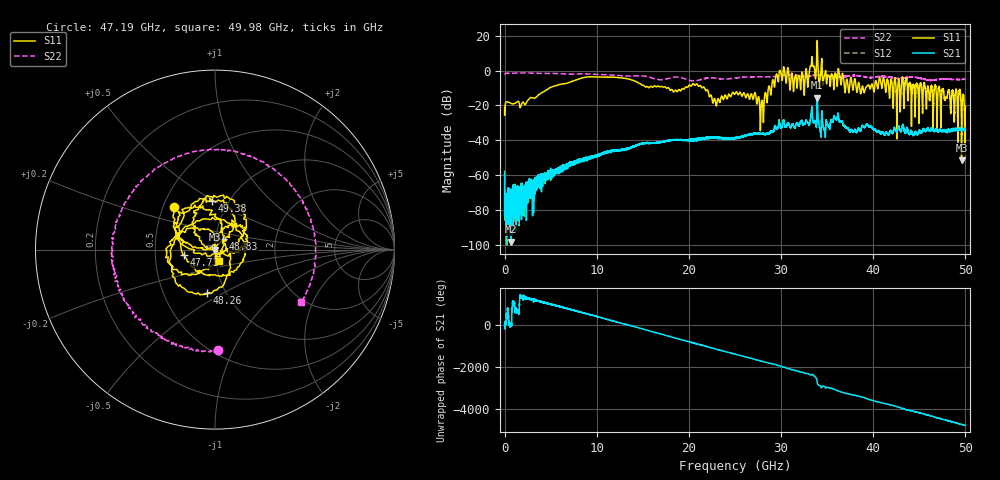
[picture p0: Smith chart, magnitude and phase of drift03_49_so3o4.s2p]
!Created with skrf (http://scikit-rf.org).
# Hz S RI R 50.0
!freq ReS11 ImS11 ReS21 ImS21 ReS12 ImS12 ReS22 ImS22
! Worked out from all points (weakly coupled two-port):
!   10001 points, 300 kHz to 50 GHz, reference 50 ohm
!   highest |S21| = -15.62 dB at 33.92 GHz (marker M1); lowest = -98.3 dB at 695.3 MHz (marker M2)
!   lowest |S11| = -51.6 dB at 49.58 GHz (marker M3), VSWR 1.01, Z = 49.7 - j0.0441 ohm
!   |S11| at or under -10 dB: start of sweep to 4.848 GHz; 21.69 GHz to 28.63 GHz (6.935 GHz wide, 27.6 % of centre); 47.2 GHz to end of sweep (the widest 3 of 42)
!   |S22| runs from -5.9 to -1.3 dB; largest |S21 - S12| = 0.017
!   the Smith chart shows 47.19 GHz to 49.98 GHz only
!   S11 on the Smith chart (normalised r, x): 47.19 GHz: 0.57, +0.30; 47.71 GHz: 0.71, -0.05; 48.26 GHz: 0.82, -0.42; 48.83 GHz: 1.09, +0.13; 49.38 GHz: 0.83, +0.49; 49.98 GHz: 1.04, -0.13
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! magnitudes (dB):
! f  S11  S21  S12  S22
! 300 kHz  -21.3  -59.7  -57.3  -2.0
! 255.3 MHz  -17.9  -71.1  -87.1  -1.4
! 695.3 MHz  -18.8  -98.3  -71.7  -1.5
! 8.335 GHz  -4.3  -51.5  -51.5  -1.9
! 16.67 GHz  -8.8  -41.4  -41.4  -5.2
! 22.81 GHz  -16.1  -38.7  -38.3  -4.2
! 25 GHz  -13.4  -38.5  -38.8  -4.2
! 27.92 GHz  -17.1  -36.4  -36.5  -3.5
! 29.69 GHz  -6.4  -31.8  -31.6  -3.1
! 32.32 GHz  -1.5  -30.5  -30.7  -3.3
! 33.34 GHz  7.8  -20.6  -20.9  -2.9
! 33.92 GHz  17.3  -15.6  -15.8  -2.5
! 38.82 GHz  -9.0  -31.5  -31.8  -3.4
! 41.67 GHz  -8.9  -36.7  -36.5  -3.7
! 47.19 GHz  -9.6  -34.3  -34.2  -5.0
! 47.71 GHz  -15.1  -34.5  -34.0  -4.8
! 48.26 GHz  -12.3  -33.8  -34.7  -5.0
! 48.83 GHz  -22.7  -33.6  -34.0  -5.1
! 49.38 GHz  -11.3  -33.7  -33.4  -5.1
! 49.58 GHz  -51.6  -33.4  -34.0  -5.0
! 49.98 GHz  -23.5  -34.3  -33.8  -5.0
! 50 GHz  -20.3  -34.0  -33.8  -4.9
